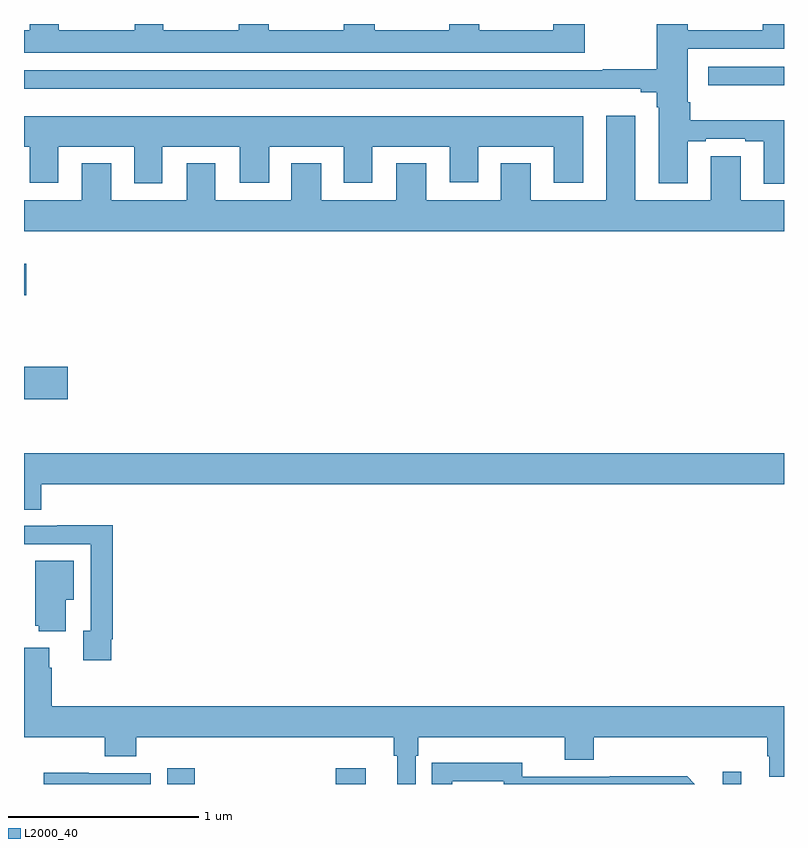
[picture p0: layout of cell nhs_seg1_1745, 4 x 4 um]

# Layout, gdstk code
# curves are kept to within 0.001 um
import gdstk
lib = gdstk.Library(unit=1e-6, precision=1e-09)
def R(c, l, rs):  # rectangles x0, y0, x1, y1
    for r in rs: c.add(gdstk.rectangle(r[:2], r[2:], *l))
def P(c, l, *ps):  # polygons
    for p in ps: c.add(gdstk.Polygon(p, *l))
L2000_40 = (2000, 40)

nhs_seg1_1745 = lib.new_cell('nhs_seg1_1745')
R(nhs_seg1_1745, L2000_40, [(207.755,506.199,207.899,506.281), (208.64,506.199,208.798,506.281), (210.678,506.199,210.775,506.263), (207,508.223,207.229,508.394), (207,508.771,207.011,508.936), (210.6,509.876,211,509.973)])
P(nhs_seg1_1745, L2000_40, [(211,509.693),(210.506,509.693),(210.506,509.788),(210.493,509.788),(210.493,510.069),(211,510.069),(211,510.199),(210.887,510.199),(210.887,510.165),(210.493,510.165),(210.493,510.199),(210.331,510.199),(210.331,509.96),(210.046,509.96),(210.046,509.955),(207,509.955),(207,509.858),(210.245,509.858),(210.245,509.839),(210.329,509.839),(210.329,509.762),(210.341,509.762),(210.341,509.361),(210.493,509.361),(210.493,509.583),(210.589,509.583),(210.589,509.595),(210.797,509.595),(210.797,509.583),(210.893,509.583),(210.893,509.357),(211,509.357)],
  [(209.95,510.199),(209.786,510.199),(209.786,510.166),(209.395,510.166),(209.395,510.199),(209.237,510.199),(209.237,510.166),(208.846,510.166),(208.846,510.199),(208.682,510.199),(208.682,510.166),(208.288,510.166),(208.288,510.199),(208.13,510.199),(208.13,510.166),(207.733,510.166),(207.733,510.199),(207.584,510.199),(207.584,510.166),(207.184,510.166),(207.184,510.199),(207.029,510.199),(207.029,510.166),(207,510.166),(207,510.047),(209.95,510.047)],
  [(211,509.272),(210.772,509.272),(210.772,509.503),(210.614,509.503),(210.614,509.272),(210.217,509.272),(210.217,509.716),(210.065,509.716),(210.065,509.272),(209.668,509.272),(209.668,509.467),(209.51,509.467),(209.51,509.272),(209.116,509.272),(209.116,509.467),(208.958,509.467),(208.958,509.272),(208.564,509.272),(208.564,509.467),(208.406,509.467),(208.406,509.272),(208.006,509.272),(208.006,509.467),(207.857,509.467),(207.857,509.272),(207.46,509.272),(207.46,509.467),(207.305,509.467),(207.305,509.272),(207,509.272),(207,509.108),(211,509.108)],
  [(207.727,509.552),(208.136,509.552),(208.136,509.364),(208.291,509.364),(208.291,509.552),(208.682,509.552),(208.682,509.364),(208.834,509.364),(208.834,509.552),(209.24,509.552),(209.24,509.367),(209.392,509.367),(209.392,509.552),(209.789,509.552),(209.789,509.364),(209.944,509.364),(209.944,509.713),(207,509.713),(207,509.552),(207.029,509.552),(207.029,509.364),(207.181,509.364),(207.181,509.552),(207.581,509.552),(207.581,509.361),(207.727,509.361)],
  [(207.092,507.776),(211,507.776),(211,507.94),(207,507.94),(207,507.643),(207.092,507.643)],
  [(207.46,506.962),(207.467,506.962),(207.467,507.56),(207.175,507.56),(207.175,507.558),(207,507.558),(207,507.462),(207.351,507.462),(207.351,507.006),(207.311,507.006),(207.311,506.85),(207.46,506.85)],
  [(207.22,507.17),(207.262,507.17),(207.262,507.373),(207.059,507.373),(207.059,507.033),(207.077,507.033),(207.077,507.002),(207.22,507.002)],
  [(209.061,506.348),(209.075,506.348),(209.075,506.444),(209.846,506.444),(209.846,506.327),(209.999,506.327),(209.999,506.444),(210.911,506.444),(210.911,506.346),(210.923,506.346),(210.923,506.236),(211,506.236),(211,506.608),(207.146,506.608),(207.146,506.81),(207.133,506.81),(207.133,506.917),(207,506.917),(207,506.444),(207.425,506.444),(207.425,506.345),(207.59,506.345),(207.59,506.444),(208.945,506.444),(208.945,506.348),(208.964,506.348),(208.964,506.199),(209.061,506.199)],
  [(209.254,506.214),(209.526,506.214),(209.526,506.199),(210.531,506.199),(210.49,506.24),(210.082,506.24),(210.082,506.238),(209.622,506.238),(209.622,506.311),(209.146,506.31),(209.146,506.199),(209.254,506.199)],
  [(207.666,506.256),(207.341,506.256),(207.341,506.258),(207.105,506.258),(207.105,506.199),(207.666,506.199)])

lib.write_gds('nhs_seg1_1745.gds')
